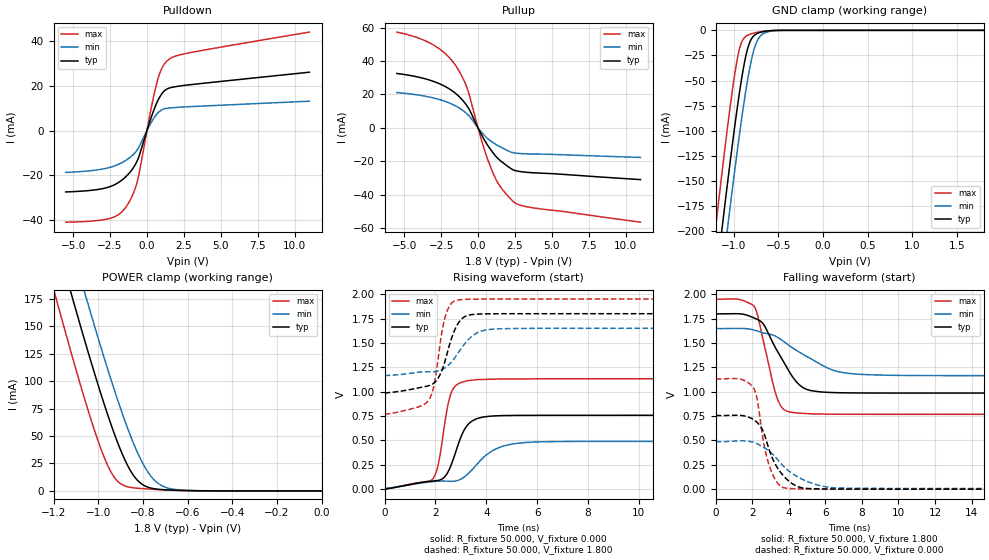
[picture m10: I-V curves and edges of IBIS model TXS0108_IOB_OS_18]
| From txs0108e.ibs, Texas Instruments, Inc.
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[Model]   TXS0108_IOB_OS_18
Model_type  I/O
Vinl=0.5775
Vinh=1.2675
Enable   Active-Low
Vref =   0
Rref =   1000000
Cref =   15p
Vmeas =   0.9
| variable   typ   min   max
C_comp   4.32pF   3.91pF   4.59pF
| C_pullup   4.69pF   3.51pF   5.54pF
| C_pulldown   5.04pF   4.33pF   5.93pF
| C_tri-state   4.32pF   3.91pF   4.59pF
[Temperature Range]   40   100   -40
| Ambient temperature   25   85   -40
[Voltage range]   1.8   1.65   1.95
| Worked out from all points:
|   slope of the pulldown table from 0 to 0.27 V, typ, clamps not added: 48.7 ohm
|   slope of the pullup table from 0 to 0.27 V, typ, clamps not added: 57.9 ohm
|   GND clamp passes 1 mA (typ) near -0.65 V on its own axis
|   POWER clamp passes 1 mA (typ) near -0.70 V on its own axis
|   rising waveform, R_fixture 50.000, V_fixture 0.000: 20-80 % time 695ps typ, 1.23ns min, 442ps max; typ from 0.001 V to 0.759 V
|   falling waveform, R_fixture 50.000, V_fixture 1.800: 20-80 % time 1.44ns typ, 2.49ns min, 864ps max; typ from 1.8 V to 0.986 V
|   rising waveform, R_fixture 50.000, V_fixture 1.800: 20-80 % time 636ps typ, 909ps min, 447ps max; typ from 0.986 V to 1.8 V
|   falling waveform, R_fixture 50.000, V_fixture 0.000: 20-80 % time 1.07ns typ, 1.82ns min, 677ps max; typ from 0.759 V to 0.001 V
[GND Clamp]
| TXS0108_IOB_OS_18
|   Voltage   I(typ)   I(min)   I(max)
-5.5V     -3.818A    -3.833A    -3.807A
-1.22V    -266.5mA   -311.3mA   -211.1mA
-1.195V   -247.3mA   -292.1mA   -191.6mA
-1.13V    -198mA     -243mA     -141.9mA
-1.075V   -157.3mA   -202.2mA   -101.5mA
-1.06V    -146.4mA   -191.3mA   -90.89mA
-980mV    -90.81mA   -134.4mA   -39.59mA
-920mV    -53.64mA   -94.48mA   -14.22mA
-820mV    -12.19mA   -37.98mA   -4.024mA
-760mV    -4.427mA   -15.89mA   -2.444mA
-685mV    -1.595mA   -4.339mA   -1.242mA
1.8V      72.62pA    16.07nA    52.84pA
[POWER Clamp]
| TXS0108_IOB_OS_18
|   Voltage   I(typ)   I(min)   I(max)
-5.5V     3.692A     3.704A     3.7A
-1.2V     237.8mA    281.5mA    184.1mA
-1.175V   219.3mA    263.1mA    165.5mA
-1.11V    172.1mA    216mA      118.1mA
-1.06V    136.8mA    180.5mA    83.33mA
-980mV    83.42mA    125.7mA    34.17mA
-925mV    50.55mA    90.34mA    11.63mA
-835mV    12.28mA    40.05mA    2.674mA
-785mV    4.005mA    19.62mA    1.857mA
-740mV    1.718mA    8.258mA    1.311mA
-620mV    423.7uA    670.1uA    303.8uA
0V        0A         0A         0A
[Pulldown]
| TXS0108_IOB_OS_18
|   Voltage   I(typ)   I(min)   I(max)
-5.5V     -27.56mA   -18.81mA   -41.13mA
-2.47V    -25.11mA   -16.47mA   -39.36mA
-1.835V   -22.92mA   -14.89mA   -37.27mA
-1.305V   -19.89mA   -12.84mA   -33.21mA
-915mV    -16.65mA   -10.71mA   -28.08mA
-620mV    -13.03mA   -8.316mA   -22.09mA
280mV     5.69mA     3.474mA    9.802mA
745mV     13.53mA    7.935mA    23.11mA
1.08V     17.1mA     9.506mA    28.81mA
1.485V    19mA       10.07mA    31.88mA
2.905V    20.54mA    10.7mA     34.93mA
11V       26.16mA    13.16mA    44.17mA
[Pullup]
| TXS0108_IOB_OS_18
|   Voltage   I(typ)   I(min)   I(max)
-5.5V     32.6mA     21.17mA    57.36mA
-3.09V    28.07mA    18.07mA    49.99mA
-2.22V    24.76mA    15.85mA    44.47mA
-1.535V   20.76mA    13.23mA    37.58mA
-1.08V    16.92mA    10.76mA    30.75mA
-705mV    12.65mA    8.048mA    22.98mA
330mV     -5.643mA   -3.532mA   -10.14mA
1.06V     -15.4mA    -9.077mA   -28.05mA
1.595V    -20.2mA    -11.75mA   -36.22mA
2.475V    -25.42mA   -14.98mA   -44.73mA
3.72V     -26.86mA   -15.64mA   -47.85mA
11V       -30.96mA   -17.68mA   -56.45mA
[Ramp]
| TXS0108_IOB_OS_18
| variable   typ   min   max
dV/dt_r   0.45/7.00E-10   0.29/1.24E-09   0.68/4.44E-10
dV/dt_f   0.49/1.44E-09   0.29/2.50E-09   0.71/8.66E-10
R_load = 50
[Rising Waveform]
R_fixture = 50.000
V_fixture = 0.000
V_fixture_min = 0.000
V_fixture_max = 0.000
C_fixture = 0.000
L_fixture = 0.000
|  time   V(typ)   V(min)   V(max)
0s        1.01mV     7.87mV     1.27mV
1.9ns     84.44mV    78.99mV    109mV
2.125ns   91.88mV    82.74mV    276.6mV
2.445ns   156.8mV    83.13mV    805.5mV
2.59ns    232.4mV    81.18mV    966.9mV
2.79ns    378.4mV    85.03mV    1.061V
3.23ns    648.2mV    146.7mV    1.111V
4.245ns   750.9mV    395.6mV    1.128V
5.475ns   757.6mV    477.8mV    1.131V
19.96ns   758.5mV    491mV      1.132V
[Falling Waveform]
R_fixture = 50.000
V_fixture = 1.800
V_fixture_min = 1.650
V_fixture_max = 1.950
C_fixture = 0.000
L_fixture = 0.000
|  time   V(typ)   V(min)   V(max)
0s        1.8V       1.65V      1.95V
1.29ns    1.799V     1.649V     1.946V
2.11ns    1.755V     1.631V     1.873V
2.585ns   1.699V     1.604V     1.537V
3.31ns    1.437V     1.566V     963.7mV
3.6ns     1.344V     1.531V     843mV
3.95ns    1.23V      1.483V     797.7mV
4.965ns   1.025V     1.363V     775.8mV
7.335ns   988.1mV    1.187V     768.8mV
19.96ns   986.2mV    1.165V     768.1mV
[Rising Waveform]
R_fixture = 50.000
V_fixture = 1.800
V_fixture_min = 1.650
V_fixture_max = 1.950
C_fixture = 0.000
L_fixture = 0.000
|  time   V(typ)   V(min)   V(max)
0s        986.2mV    1.165V     768.1mV
1.76ns    1.064V     1.204V     924.9mV
1.965ns   1.095V     1.206V     1.099V
2.22ns    1.198V     1.223V     1.559V
2.37ns    1.31V      1.245V     1.756V
2.595ns   1.519V     1.295V     1.896V
2.825ns   1.671V     1.373V     1.937V
3.535ns   1.793V     1.588V     1.949V
4.34ns    1.799V     1.643V     1.95V
19.96ns   1.8V       1.65V      1.95V
[Falling Waveform]
R_fixture = 50.000
V_fixture = 0.000
V_fixture_min = 0.000
V_fixture_max = 0.000
C_fixture = 0.000
L_fixture = 0.000
|  time   V(typ)   V(min)   V(max)
0s        758.6mV    491mV      1.132V
1.335ns   758mV      496.1mV    1.131V
2.07ns    713.9mV    480.8mV    1.039V
2.27ns    684.3mV    466.2mV    916.7mV
2.605ns   590.5mV    431.3mV    494.8mV
2.865ns   441mV      399.1mV    281.9mV
3.69ns    141.4mV    239.9mV    17.67mV
4.645ns   17.84mV    111mV      3.74mV
6.445ns   2.335mV    15.82mV    1.484mV
19.96ns   1.01mV     7.87mV     1.27mV
